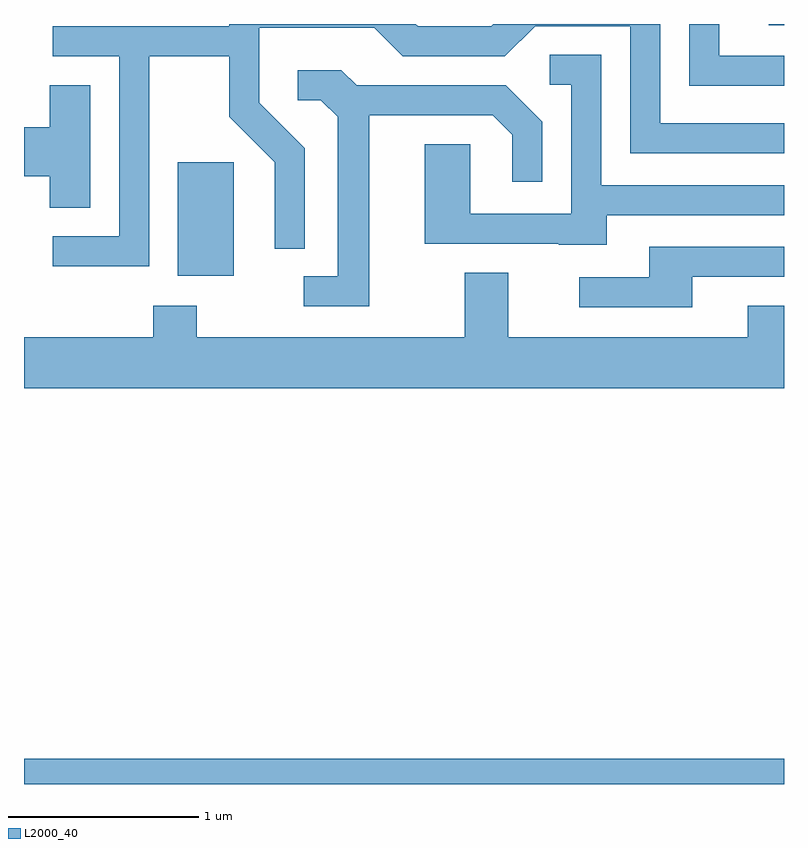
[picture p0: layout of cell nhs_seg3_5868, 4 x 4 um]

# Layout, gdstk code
import gdstk
lib = gdstk.Library(unit=1e-6, precision=1e-09)
def R(c, l, rs):  # rectangles x0, y0, x1, y1
    for r in rs: c.add(gdstk.rectangle(r[:2], r[2:], *l))
def P(c, l, *ps):  # polygons
    for p in ps: c.add(gdstk.Polygon(p, *l))
L2000_40 = (2000, 40)

nhs_seg3_5868 = lib.new_cell('nhs_seg3_5868')
R(nhs_seg3_5868, L2000_40, [(357.611,1163.892,361.611,1164.024), (358.421,1166.566,358.714,1167.164), (361.531,1167.886,361.611,1167.892)])
P(nhs_seg3_5868, L2000_40, [(361.611,1167.724),(361.269,1167.724),(361.269,1167.892),(361.111,1167.892),(361.111,1167.566),(361.611,1167.566)],
  [(358.269,1167.721),(358.691,1167.721),(358.691,1167.404),(358.931,1167.164),(358.931,1166.708),(359.089,1166.708),(359.089,1167.237),(358.849,1167.477),(358.849,1167.871),(359.454,1167.871),(359.604,1167.721),(360.142,1167.721),(360.302,1167.881),(360.801,1167.881),(360.801,1167.211),(361.611,1167.211),(361.611,1167.369),(360.959,1167.369),(360.959,1167.892),(360.082,1167.892),(360.069,1167.879),(359.687,1167.879),(359.674,1167.892),(358.691,1167.892),(358.691,1167.879),(357.763,1167.879),(357.763,1167.721),(358.111,1167.721),(358.111,1166.774),(357.763,1166.774),(357.763,1166.616),(358.269,1166.616)],
  [(360.679,1166.886),(361.611,1166.886),(361.611,1167.044),(360.649,1167.044),(360.649,1167.729),(360.378,1167.729),(360.378,1167.571),(360.491,1167.571),(360.491,1166.894),(359.959,1166.894),(359.959,1167.259),(359.721,1167.259),(359.721,1166.736),(360.425,1166.736),(360.425,1166.731),(360.679,1166.731)],
  [(359.429,1167.411),(360.079,1167.411),(360.181,1167.309),(360.181,1167.063),(360.339,1167.063),(360.339,1167.377),(360.147,1167.569),(359.362,1167.569),(359.282,1167.649),(359.053,1167.649),(359.053,1167.491),(359.174,1167.491),(359.261,1167.404),(359.261,1166.564),(359.083,1166.564),(359.083,1166.406),(359.429,1166.406)],
  [(357.959,1167.569),(357.746,1167.569),(357.746,1167.349),(357.611,1167.349),(357.611,1167.091),(357.746,1167.091),(357.746,1166.926),(357.959,1166.926)],
  [(361.129,1166.561),(361.611,1166.561),(361.611,1166.719),(360.901,1166.719),(360.901,1166.559),(360.533,1166.559),(360.533,1166.401),(361.129,1166.401)],
  [(361.611,1166.409),(361.421,1166.409),(361.421,1166.244),(360.159,1166.244),(360.159,1166.584),(359.931,1166.584),(359.931,1166.244),(358.519,1166.244),(358.519,1166.409),(358.291,1166.409),(358.291,1166.244),(357.611,1166.244),(357.611,1165.976),(361.611,1165.976)])

lib.write_gds('nhs_seg3_5868.gds')
